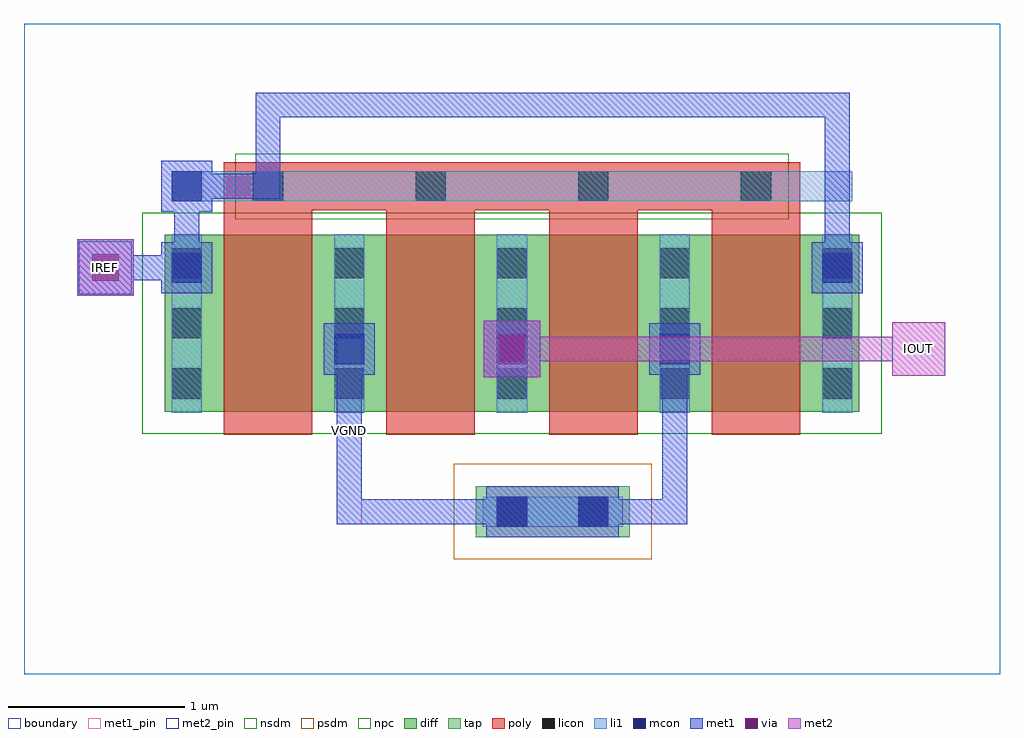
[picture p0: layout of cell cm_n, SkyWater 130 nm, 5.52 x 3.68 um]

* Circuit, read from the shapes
.subckt cm_n IOUT IREF VGND
XM1 VGND IREF IREF VGND sky130_fd_pr__nfet_01v8 w=1 l=0.5 m=2
XM2 IOUT IREF VGND VGND sky130_fd_pr__nfet_01v8 w=1 l=0.5 m=2
.ends

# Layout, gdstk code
import gdstk
lib = gdstk.Library(unit=1e-6, precision=1e-09)
def R(c, l, rs):  # rectangles x0, y0, x1, y1
    for r in rs: c.add(gdstk.rectangle(r[:2], r[2:], *l))
def A(c, l, x, y, w, h, nx, ny, dx, dy):  # array of equal rectangles
    R(c, l, [(x+i*dx, y+j*dy, x+i*dx+w, y+j*dy+h) for i in range(nx) for j in range(ny)])
diff = (65, 20)
tap = (65, 44)
poly = (66, 20)
licon = (66, 44)
li1 = (67, 20)
mcon = (67, 44)
met1_pin = (68, 16)
met1 = (68, 20)
via = (68, 44)
met2_pin = (69, 16)
met2 = (69, 20)
nsdm = (93, 44)
psdm = (94, 20)
npc = (95, 20)
boundary = (235, 4)

cm_n = lib.new_cell('cm_n')
R(cm_n, diff, [(0.795,1.485,4.725,2.485)])
R(cm_n, tap, [(2.555,0.775,3.425,1.065)])
A(cm_n, poly, 1.13, 1.355, 0.5, 1.405, 4, 1, 0.92, 0)
R(cm_n, poly, [(1.13,2.625,4.39,2.895)])
A(cm_n, licon, 0.835, 1.56, 0.17, 0.17, 5, 3, 0.92, 0.34)
A(cm_n, licon, 1.295, 2.675, 0.17, 0.17, 4, 1, 0.92, 0)
R(cm_n, licon, [(2.675,0.835,2.845,1.005), (3.135,0.835,3.305,1.005)])
A(cm_n, li1, 0.835, 1.48, 0.17, 1.01, 5, 1, 0.92, 0)
R(cm_n, li1, [(2.595,0.835,3.385,1.005), (0.835,2.675,4.685,2.845)])
A(cm_n, mcon, 1.755, 1.755, 0.17, 0.17, 3, 1, 0.92, 0)
R(cm_n, mcon, [(2.675,0.835,2.845,1.005), (3.135,0.835,3.305,1.005), (0.835,2.215,1.005,2.385), (4.515,2.215,4.685,2.385), (0.835,2.675,1.005,2.845)])
R(cm_n, met1_pin, [(1.77,0.85,1.91,1.91)])
A(cm_n, met1, 1.695, 1.695, 0.29, 0.29, 3, 1, 0.92, 0)
R(cm_n, met1, [(2.615,0.775,3.365,1.065), (1.77,0.85,1.91,1.91), (1.77,0.85,2.83,0.99), (2.69,0.85,2.83,0.99), (2.69,0.85,3.75,0.99), (3.61,0.85,3.75,1.91), (2.6,1.68,2.92,2), (0.3,2.14,0.62,2.46), (0.775,2.155,1.065,2.445), (4.455,2.155,4.745,2.445), (0.39,2.23,0.99,2.37), (0.85,2.23,0.99,2.83), (4.53,2.23,4.67,3.29), (0.775,2.615,1.065,2.905), (0.85,2.69,1.45,2.83), (1.31,2.69,1.45,3.29), (1.31,3.15,4.67,3.29)])
R(cm_n, via, [(2.685,1.765,2.835,1.915), (0.385,2.225,0.535,2.375)])
R(cm_n, met2_pin, [(4.91,1.69,5.21,1.99), (0.31,2.15,0.61,2.45)])
R(cm_n, met2, [(2.6,1.68,2.92,2), (4.91,1.69,5.21,1.99), (2.69,1.77,5.13,1.91), (4.99,1.77,5.13,1.91), (0.3,2.14,0.62,2.46), (0.31,2.15,0.61,2.45), (0.39,2.23,0.53,2.37)])
R(cm_n, nsdm, [(0.67,1.36,4.85,2.61)])
R(cm_n, psdm, [(2.43,0.65,3.55,1.19)])
R(cm_n, npc, [(1.195,2.575,4.325,2.945)])
R(cm_n, boundary, [(0,0,5.52,3.68)])
cm_n.add(gdstk.Label('VGND', (1.84,1.38), layer=68, texttype=5))
cm_n.add(gdstk.Label('IREF', (0.46,2.3), layer=69, texttype=5))
cm_n.add(gdstk.Label('IOUT', (5.06,1.84), layer=69, texttype=5))
cm_n.add(gdstk.Label('VGND', (1.84,1.38), layer=68, texttype=16))
cm_n.add(gdstk.Label('IREF', (0.46,2.3), layer=69, texttype=16))
cm_n.add(gdstk.Label('IOUT', (5.06,1.84), layer=69, texttype=16))

lib.write_gds('cm_n.gds')
